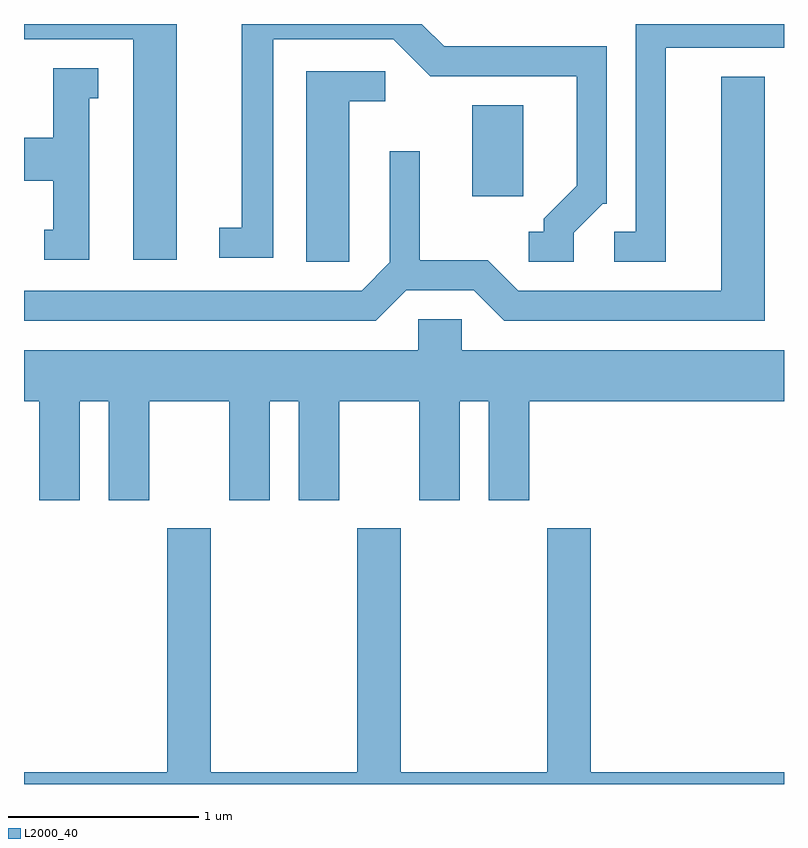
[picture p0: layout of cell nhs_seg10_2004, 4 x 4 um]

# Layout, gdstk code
import gdstk
lib = gdstk.Library(unit=1e-6, precision=1e-09)
def R(c, l, rs):  # rectangles x0, y0, x1, y1
    for r in rs: c.add(gdstk.rectangle(r[:2], r[2:], *l))
def P(c, l, *ps):  # polygons
    for p in ps: c.add(gdstk.Polygon(p, *l))
L2000_40 = (2000, 40)

nhs_seg10_2004 = lib.new_cell('nhs_seg10_2004')
R(nhs_seg10_2004, L2000_40, [(245.971,2161.616,246.239,2162.094)])
P(nhs_seg10_2004, L2000_40, [(244.414,2162.522),(243.611,2162.522),(243.611,2162.441),(244.186,2162.441),(244.186,2161.281),(244.414,2161.281)],
  [(246.504,2161.424),(246.657,2161.576),(246.679,2161.576),(246.679,2162.404),(245.822,2162.404),(245.704,2162.522),(244.756,2162.522),(244.756,2161.449),(244.638,2161.449),(244.638,2161.291),(244.924,2161.291),(244.924,2162.441),(245.554,2162.441),(245.749,2162.246),(246.521,2162.246),(246.521,2161.672),(246.346,2161.497),(246.346,2161.429),(246.268,2161.429),(246.268,2161.271),(246.504,2161.271)],
  [(246.989,2162.396),(247.611,2162.396),(247.611,2162.522),(246.831,2162.522),(246.831,2161.429),(246.718,2161.429),(246.718,2161.271),(246.989,2161.271)],
  [(243.954,2162.131),(244.003,2162.131),(244.003,2162.289),(243.766,2162.289),(243.766,2161.924),(243.611,2161.924),(243.611,2161.696),(243.766,2161.696),(243.766,2161.439),(243.718,2161.439),(243.718,2161.281),(243.954,2161.281)],
  [(245.324,2162.116),(245.513,2162.116),(245.513,2162.274),(245.096,2162.274),(245.096,2161.271),(245.324,2161.271)],
  [(245.622,2161.121),(245.979,2161.121),(246.139,2160.961),(247.509,2160.961),(247.509,2162.244),(247.281,2162.244),(247.281,2161.119),(246.212,2161.119),(246.052,2161.279),(245.694,2161.279),(245.694,2161.853),(245.536,2161.853),(245.536,2161.267),(245.389,2161.119),(243.611,2161.119),(243.611,2160.961),(245.462,2160.961)],
  [(243.904,2160.536),(244.056,2160.536),(244.056,2160.016),(244.269,2160.016),(244.269,2160.536),(244.691,2160.536),(244.691,2160.016),(244.904,2160.016),(244.904,2160.536),(245.056,2160.536),(245.056,2160.016),(245.269,2160.016),(245.269,2160.536),(245.691,2160.536),(245.691,2160.016),(245.904,2160.016),(245.904,2160.536),(246.056,2160.536),(246.056,2160.016),(246.269,2160.016),(246.269,2160.536),(247.611,2160.536),(247.611,2160.804),(245.914,2160.804),(245.914,2160.969),(245.686,2160.969),(245.686,2160.804),(243.611,2160.804),(243.611,2160.536),(243.691,2160.536),(243.691,2160.016),(243.904,2160.016)],
  [(247.611,2158.584),(246.594,2158.584),(246.594,2159.869),(246.366,2159.869),(246.366,2158.584),(245.594,2158.584),(245.594,2159.869),(245.366,2159.869),(245.366,2158.584),(244.594,2158.584),(244.594,2159.869),(244.366,2159.869),(244.366,2158.584),(243.611,2158.584),(243.611,2158.522),(247.611,2158.522)])

lib.write_gds('nhs_seg10_2004.gds')
